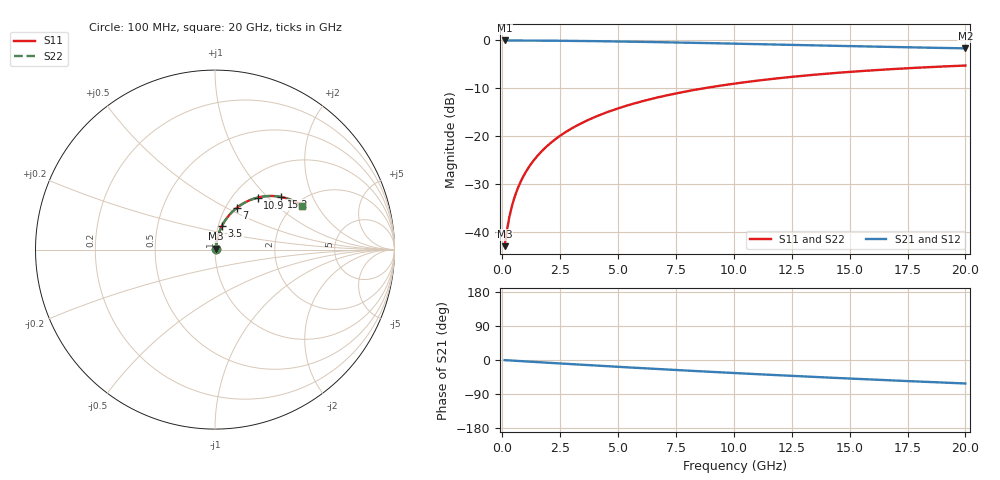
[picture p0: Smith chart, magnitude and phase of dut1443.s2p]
! Touchstone file exported from HFSS 2026.1.0
!  File:  C:/ffzhzh/LocalFiles/Ansys_Project_Files/temp_train_BSMRDL_1443_1783180601_22436.aedt
!  Generated:  11:58:01 PM Jul  4, 2026
!  Design:  BSMRDL
!  Project:  temp_train_BSMRDL_1443_1783180601_22436
! Variables:
!  h_bsmrdl = 4.26um
!  h_ox = 20um
!  h_rdl = 5um
!  h_sub = 80um
!  h_tmrdl = 5um
!  h_tsv = 80um
!  h_via = 3um
!  l_bsmrdl = 974.53um
!  l_sub = 1374.53um
!  l_tmrdl = 200um
!  m_sub = 200um
!  pitch = 42.09um
!  r_tsv = 6um
!  s_tmrdl = 10um
!  w_bsmrdl = 14.58um
!  w_sub = 500um
!  w_tmrdl = 12um
!  x_tsv_center1 = 206um
!  x_tsv_center2 = 1195.11um
!  x_tsv_center3 = 1407.11um
!  x_tsv_center4 = 2396.22um
!  x_tsv_center5 = 2608.22um
!  x_tsv_center6 = 3597.33um
# GHz S MA R 50.000000
! Terminal data exported
! Port[1] = BSM_RDL1_1_T1
! Port[2] = BSM_RDL1_1_T2
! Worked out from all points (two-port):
!   200 points, 100 MHz to 20 GHz, reference 50 ohm
!   highest |S21| = -0.05 dB at 100 MHz (marker M1); lowest = -1.7 dB at 20 GHz (marker M2)
!   |S21| within 3 dB of the highest: start of sweep to end of sweep
!   lowest |S11| = -43.0 dB at 100 MHz (marker M3), VSWR 1.01, Z = 50.6 + j0.433 ohm
!   |S11| at or under -10 dB: start of sweep to 8.754 GHz
!   |S22| runs from -43.0 to -5.3 dB; largest |S21 - S12| = 6.1e-15
!   S11 on the Smith chart (normalised r, x): 100 MHz: 1.01, +0.01; 3.5 GHz: 1.04, +0.28; 7 GHz: 1.13, +0.56; 10.9 GHz: 1.29, +0.87; 15.2 GHz: 1.60, +1.21; 20 GHz: 2.19, +1.51
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0.1  0.007065 37.3  0.9944 -0.4  0.9944 -0.4  0.007065 37.3
! Gamma 0 0 0 0
! Port Impedance 50 0 50 0
0.2  0.01032 55.4  0.9942 -0.8  0.9942 -0.8  0.01032 55.4
0.3  0.01404 63.9  0.994 -1.1  0.994 -1.1  0.01404 63.9
0.4  0.01789 68.5  0.9938 -1.5  0.9938 -1.5  0.01789 68.5
0.5  0.02177 71.4  0.9935 -1.9  0.9935 -1.9  0.02177 71.4
0.6  0.02568 73.4  0.9933 -2.2  0.9933 -2.2  0.02568 73.4
0.8  0.03355 75.7  0.9929 -3.0  0.9929 -3.0  0.03355 75.7
1.1  0.04542 77.3  0.9922 -4.1  0.9922 -4.1  0.04542 77.3
1.6  0.06525 77.8  0.9907 -5.9  0.9907 -5.9  0.06525 77.8
2.1  0.08499 77.2  0.9889 -7.7  0.9889 -7.7  0.08499 77.2
2.7  0.1084 75.8  0.986 -9.9  0.986 -9.9  0.1084 75.8
3.5  0.139 73.6  0.9814 -12.7  0.9814 -12.7  0.139 73.6
5  0.1941 68.9  0.9704 -18.0  0.9704 -18.0  0.1941 68.9
6.8  0.2556 63.1  0.9543 -24.1  0.9543 -24.1  0.2556 63.1
7  0.2621 62.5  0.9524 -24.8  0.9524 -24.8  0.2621 62.5
8.5  0.3087 57.8  0.9373 -29.6  0.9373 -29.6  0.3087 57.8
10.1  0.3542 52.9  0.9203 -34.7  0.9203 -34.7  0.3542 52.9
10.9  0.3753 50.6  0.9116 -37.1  0.9116 -37.1  0.3753 50.6
13.4  0.4344 43.5  0.8847 -44.5  0.8847 -44.5  0.4344 43.4
15.2  0.4706 38.6  0.866 -49.5  0.866 -49.5  0.4706 38.6
16.7  0.4971 34.7  0.8512 -53.5  0.8512 -53.5  0.497 34.6
20  0.5441 26.4  0.8226 -62.0  0.8226 -62.0  0.544 26.4
